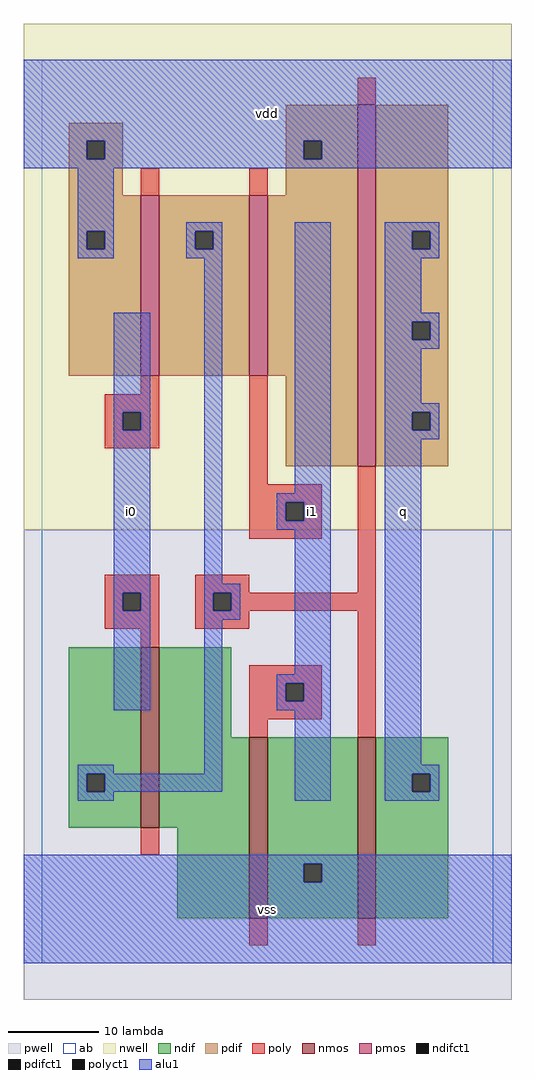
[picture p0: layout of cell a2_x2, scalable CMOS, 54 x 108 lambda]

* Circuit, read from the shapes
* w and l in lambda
.subckt a2_x2 i0 i1 q vdd vss
M1 n1 i0 n2 VSUBS nfet w=20 l=2
M2 vss i1 n1 VSUBS nfet w=20 l=2
M3 q n2 vss VSUBS nfet w=20 l=2
M4 n2 i0 vdd n3 pfet w=20 l=2
M5 vdd i1 n2 n3 pfet w=20 l=2
M6 q n2 vdd n3 pfet w=40 l=2
.ends

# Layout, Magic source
magic
tech scmos
<< ab >>
rect 0 0 50 100
<< nwell >>
rect -2 48 52 104
<< pwell >>
rect -2 -4 52 48
<< poly >>
rect 35 95 37 98
rect 11 85 13 88
rect 23 85 25 88
rect 11 63 13 65
rect 7 61 13 63
rect 7 59 9 61
rect 11 59 13 61
rect 7 57 13 59
rect 23 53 25 65
rect 23 51 31 53
rect 23 49 27 51
rect 29 49 31 51
rect 23 47 31 49
rect 7 41 13 43
rect 7 39 9 41
rect 11 39 13 41
rect 7 37 13 39
rect 17 41 23 43
rect 35 41 37 55
rect 17 39 19 41
rect 21 39 37 41
rect 17 37 23 39
rect 11 35 13 37
rect 23 31 31 33
rect 23 29 27 31
rect 29 29 31 31
rect 23 27 31 29
rect 23 25 25 27
rect 35 25 37 39
rect 11 12 13 15
rect 23 2 25 5
rect 35 2 37 5
<< ndif >>
rect 3 21 11 35
rect 3 19 5 21
rect 7 19 11 21
rect 3 15 11 19
rect 13 25 21 35
rect 13 15 23 25
rect 15 5 23 15
rect 25 11 35 25
rect 25 9 29 11
rect 31 9 35 11
rect 25 5 35 9
rect 37 21 45 25
rect 37 19 41 21
rect 43 19 45 21
rect 37 5 45 19
<< pdif >>
rect 3 91 9 93
rect 3 89 5 91
rect 7 89 9 91
rect 3 85 9 89
rect 27 91 35 95
rect 27 89 29 91
rect 31 89 35 91
rect 27 85 35 89
rect 3 81 11 85
rect 3 79 5 81
rect 7 79 11 81
rect 3 65 11 79
rect 13 81 23 85
rect 13 79 17 81
rect 19 79 23 81
rect 13 65 23 79
rect 25 65 35 85
rect 27 55 35 65
rect 37 81 45 95
rect 37 79 41 81
rect 43 79 45 81
rect 37 71 45 79
rect 37 69 41 71
rect 43 69 45 71
rect 37 61 45 69
rect 37 59 41 61
rect 43 59 45 61
rect 37 55 45 59
<< alu1 >>
rect -2 91 52 100
rect -2 89 5 91
rect 7 89 29 91
rect 31 89 52 91
rect -2 88 52 89
rect 4 81 8 88
rect 4 79 5 81
rect 7 79 8 81
rect 4 78 8 79
rect 16 81 20 82
rect 16 79 17 81
rect 19 79 20 81
rect 16 78 20 79
rect 8 61 12 72
rect 8 59 9 61
rect 11 59 12 61
rect 8 41 12 59
rect 8 39 9 41
rect 11 39 12 41
rect 8 28 12 39
rect 18 42 20 78
rect 28 52 32 82
rect 26 51 32 52
rect 26 49 27 51
rect 29 49 32 51
rect 26 48 32 49
rect 18 41 22 42
rect 18 39 19 41
rect 21 39 22 41
rect 18 38 22 39
rect 4 21 8 22
rect 18 21 20 38
rect 28 32 32 48
rect 26 31 32 32
rect 26 29 27 31
rect 29 29 32 31
rect 26 28 32 29
rect 4 19 5 21
rect 7 19 20 21
rect 4 18 8 19
rect 28 18 32 28
rect 38 81 44 82
rect 38 79 41 81
rect 43 79 44 81
rect 38 78 44 79
rect 38 72 42 78
rect 38 71 44 72
rect 38 69 41 71
rect 43 69 44 71
rect 38 68 44 69
rect 38 62 42 68
rect 38 61 44 62
rect 38 59 41 61
rect 43 59 44 61
rect 38 58 44 59
rect 38 22 42 58
rect 38 21 44 22
rect 38 19 41 21
rect 43 19 44 21
rect 38 18 44 19
rect -2 11 52 12
rect -2 9 29 11
rect 31 9 52 11
rect -2 0 52 9
<< nmos >>
rect 11 15 13 35
rect 23 5 25 25
rect 35 5 37 25
<< pmos >>
rect 11 65 13 85
rect 23 65 25 85
rect 35 55 37 95
<< polyct1 >>
rect 9 59 11 61
rect 27 49 29 51
rect 9 39 11 41
rect 19 39 21 41
rect 27 29 29 31
<< ndifct1 >>
rect 5 19 7 21
rect 29 9 31 11
rect 41 19 43 21
<< pdifct1 >>
rect 5 89 7 91
rect 29 89 31 91
rect 5 79 7 81
rect 17 79 19 81
rect 41 79 43 81
rect 41 69 43 71
rect 41 59 43 61
<< labels >>
rlabel alu1 10 50 10 50 6 i0
rlabel alu1 25 6 25 6 6 vss
rlabel alu1 30 50 30 50 6 i1
rlabel alu1 25 94 25 94 6 vdd
rlabel alu1 40 50 40 50 6 q
<< end >>
